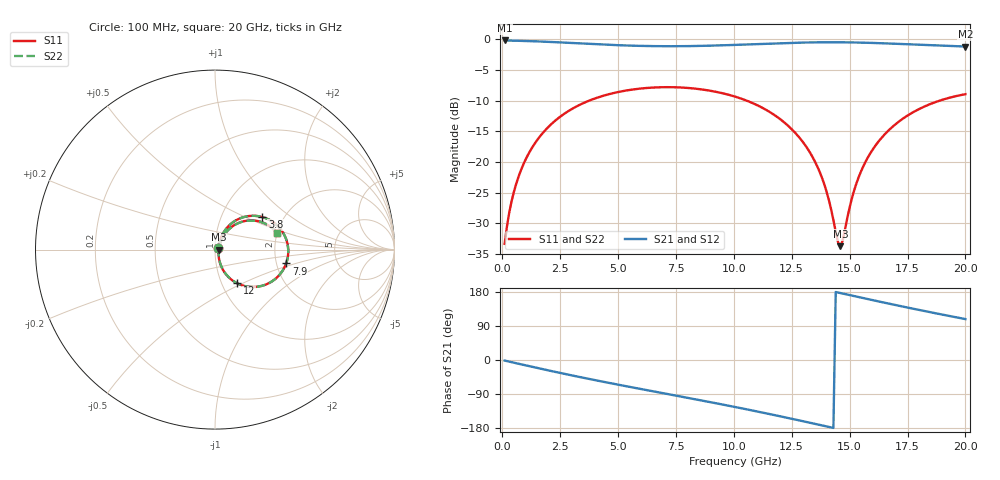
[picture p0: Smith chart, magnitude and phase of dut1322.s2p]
! Touchstone file exported from HFSS 2026.1.0
!  File:  C:/ffzhzh/LocalFiles/Ansys_Project_Files/temp_train_TSV_RDL_1322_1783336992_38704.aedt
!  Generated:  07:34:03 PM Jul  6, 2026
!  Design:  TSV_RDL
!  Project:  temp_train_TSV_RDL_1322_1783336992_38704
! Variables:
!  h_bsmrdl = 2.08um
!  h_ox = 20um
!  h_rdl = 5um
!  h_sub = 68.14um
!  h_tmrdl = 4.55um
!  h_tsv = 68.14um
!  h_via = 3um
!  l_bsmrdl = 137.16um
!  l_sub = 4350.22um
!  l_tmrdl = 848.25um
!  m_sub = 200um
!  pitch = 43.17um
!  r_tsv = 3.73um
!  s_tmrdl = 10um
!  w_bsmrdl = 20.94um
!  w_sub = 500um
!  w_tmrdl = 27.64um
!  x_tsv_center1 = 862.07um
!  x_tsv_center2 = 1020.17um
!  x_tsv_center3 = 1896.06um
!  x_tsv_center4 = 2054.16um
!  x_tsv_center5 = 2930.05um
!  x_tsv_center6 = 3088.15um
# GHz S MA R 50.000000
! Terminal data exported
! Port[1] = TM_RDL1_1_T1
! Port[2] = TM_RDL5_1_T1
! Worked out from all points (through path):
!   200 points, 100 MHz to 20 GHz, reference 50 ohm
!   highest |S21| = -0.16 dB at 100 MHz (marker M1); lowest = -1.1 dB at 20 GHz (marker M2)
!   group delay of S21, straight-line fit = 34.7 ps
!   lowest |S11| = -33.7 dB at 14.6 GHz (marker M3), VSWR 1.04, Z = 52.1 - j0.123 ohm
!   |S11| at or under -10 dB: start of sweep to 3.735 GHz; 10.57 GHz to 18.87 GHz (8.299 GHz wide, 56.4 % of centre)
!   |S22| runs from -33.4 to -7.8 dB; largest |S21 - S12| = 1.6e-14
!   S11 on the Smith chart (normalised r, x): 100 MHz: 1.04, +0.02; 3.8 GHz: 1.56, +0.63; 7.9 GHz: 2.26, -0.42; 12 GHz: 1.18, -0.47; 20 GHz: 2.00, +0.42
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0.1  0.02154 31.9  0.982 -1.5  0.982 -1.5  0.02154 31.9
! Gamma 0 0 0 0
! Port Impedance 50 0 50 0
0.3  0.03874 54.4  0.9793 -4.3  0.9793 -4.3  0.03874 54.4
0.5  0.0571 61.0  0.9773 -7.1  0.9773 -7.1  0.0571 61.0
1.2  0.1231 62.5  0.9697 -16.8  0.9697 -16.8  0.1231 62.5
2.2  0.211 53.0  0.9525 -30.2  0.9525 -30.2  0.211 53.0
3.5  0.3028 38.0  0.9254 -46.9  0.9254 -46.9  0.3027 38.0
3.8  0.3198 34.6  0.9193 -50.6  0.9193 -50.6  0.3198 34.6
5.2  0.3791 18.6  0.8954 -67.4  0.8954 -67.4  0.3791 18.7
6.8  0.4076 1.0  0.8819 -85.9  0.8819 -85.9  0.4076 1.0
7.9  0.4039 -11.0  0.8825 -98.6  0.8825 -98.6  0.4039 -11.0
10.1  0.3399 -35.4  0.9043 -124.6  0.9043 -124.6  0.3399 -35.4
12  0.2242 -56.8  0.9325 -148.5  0.9325 -148.5  0.2241 -56.7
13.4  0.11 -69.3  0.9469 -167.1  0.9469 -167.1  0.11 -69.0
14  0.05783 -67.0  0.9492 -175.2  0.9492 -175.2  0.058 -66.5
14.5  0.0222 -26.3  0.949 178.0  0.949 178.0  0.02277 -25.6
14.6  0.02063 -3.3  0.9487 176.7  0.9487 176.7  0.02126 -3.2
15.1  0.05078 53.7  0.9462 169.9  0.9462 169.9  0.05111 53.1
15.5  0.08464 58.4  0.9429 164.5  0.9429 164.5  0.08486 57.9
16  0.1269 56.7  0.9373 157.9  0.9373 157.9  0.127 56.3
16.7  0.1827 50.6  0.9273 148.7  0.9273 148.7  0.1828 50.4
18.1  0.2766 35.7  0.9038 130.9  0.9038 130.9  0.2767 35.5
20  0.3581 14.7  0.876 107.9  0.876 107.9  0.3582 14.6
